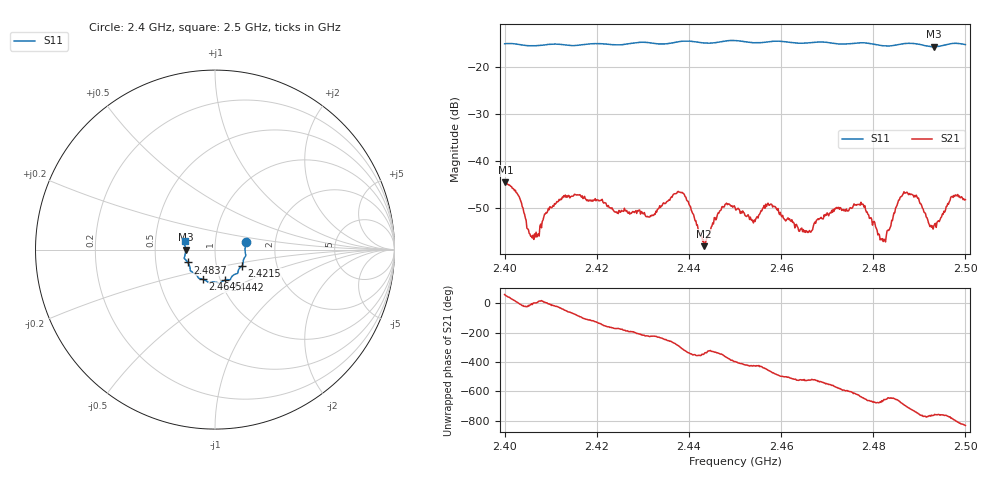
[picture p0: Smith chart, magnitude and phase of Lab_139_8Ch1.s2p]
# Hz S RI R 50
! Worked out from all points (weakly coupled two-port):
!   601 points, 2.4 GHz to 2.5 GHz, reference 50 ohm
!   highest |S21| = -44.59 dB at 2.4002 GHz (marker M1); lowest = -58.2 dB at 2.4433 GHz (marker M2)
!   lowest |S11| = -15.7 dB at 2.4932 GHz (marker M3), VSWR 1.39, Z = 35.9 - j0.0683 ohm
!   |S11| at or under -10 dB: start of sweep to end of sweep
!   S12 and S22 are empty: the file has one direction only
!   S11 on the Smith chart (normalised r, x): 2.4 GHz: 1.41, +0.12; 2.4215 GHz: 1.33, -0.25; 2.4442 GHz: 1.05, -0.37; 2.4645 GHz: 0.83, -0.29; 2.4837 GHz: 0.73, -0.11; 2.5 GHz: 0.71, +0.07
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2.4e9  0.1715 0.0401  0.00286 0.00515  0 0  0 0
2.400167e9  0.1721 0.0399  0.00327 0.00491  0 0  0 0
2.406167e9  0.1675 -0.00332  0.00161 2.51e-05  0 0  0 0
2.411333e9  0.171 -0.0346  0.00345 -0.00125  0 0  0 0
2.416667e9  0.1566 -0.07  -0.00024 -0.00409  0 0  0 0
2.4215e9  0.1512 -0.0897  -0.0031 -0.00171  0 0  0 0
2.433333e9  0.1082 -0.1384  -0.00198 0.00234  0 0  0 0
2.4385e9  0.0856 -0.1668  0.00287 0.00361  0 0  0 0
2.443333e9  0.0642 -0.1676  0.00117 0.000373  0 0  0 0
2.444167e9  0.0566 -0.1694  0.00125 0.000923  0 0  0 0
2.45e9  0.0252 -0.1891  0.00256 -0.00189  0 0  0 0
2.454e9  0.00149 -0.1807  0.000982 -0.00194  0 0  0 0
2.4575e9  -0.026 -0.1838  -0.000593 -0.0033  0 0  0 0
2.4645e9  -0.0658 -0.1659  -0.00184 -0.000544  0 0  0 0
2.466667e9  -0.0827 -0.162  -0.00166 -0.000695  0 0  0 0
2.477333e9  -0.1362 -0.1186  0.000362 0.0036  0 0  0 0
2.482e9  -0.1422 -0.0893  0.000928 0.00115  0 0  0 0
2.483333e9  -0.149 -0.0749  0.000428 0.00176  0 0  0 0
2.483667e9  -0.151 -0.0717  0.000549 0.00186  0 0  0 0
2.487e9  -0.1702 -0.0507  0.00418 0.00177  0 0  0 0
2.493167e9  -0.1635 -0.000924  0.00152 -0.00135  0 0  0 0
2.5e9  -0.1653 0.0505  -0.00145 -0.00357  0 0  0 0
